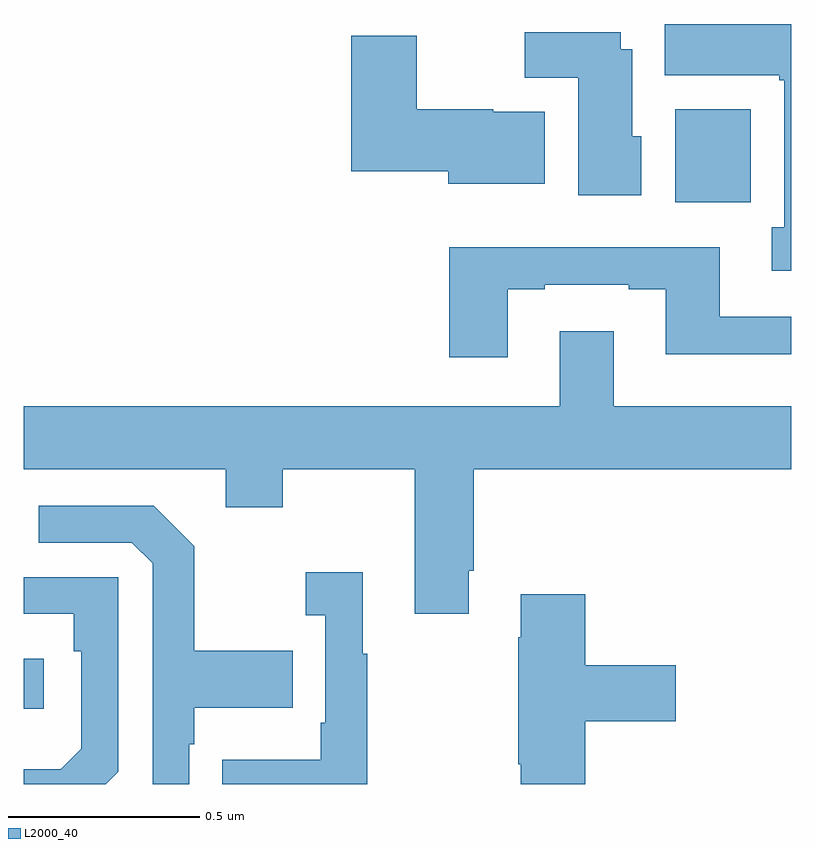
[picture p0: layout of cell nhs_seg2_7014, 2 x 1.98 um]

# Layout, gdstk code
import gdstk
lib = gdstk.Library(unit=1e-6, precision=1e-09)
def R(c, l, rs):  # rectangles x0, y0, x1, y1
    for r in rs: c.add(gdstk.rectangle(r[:2], r[2:], *l))
def P(c, l, *ps):  # polygons
    for p in ps: c.add(gdstk.Polygon(p, *l))
L2000_40 = (2000, 40)

nhs_seg2_7014 = lib.new_cell('nhs_seg2_7014')
R(nhs_seg2_7014, L2000_40, [(198,662.996,198.052,663.126), (199.697,664.316,199.894,664.558)])
P(nhs_seg2_7014, L2000_40, [(200,664.78),(199.67,664.78),(199.67,664.646),(199.969,664.646),(199.969,664.633),(199.982,664.633),(199.982,664.25),(199.949,664.25),(199.949,664.137),(200,664.137)],
  [(199.609,664.488),(199.585,664.488),(199.585,664.714),(199.555,664.714),(199.555,664.759),(199.306,664.759),(199.306,664.64),(199.445,664.64),(199.445,664.334),(199.609,664.334)],
  [(199.357,664.552),(199.224,664.552),(199.224,664.558),(199.024,664.558),(199.024,664.75),(198.854,664.75),(198.854,664.397),(199.106,664.397),(199.106,664.364),(199.357,664.364)],
  [(199.261,664.089),(199.357,664.089),(199.357,664.101),(199.577,664.101),(199.577,664.089),(199.673,664.089),(199.673,663.92),(200,663.92),(200,664.017),(199.813,664.017),(199.813,664.198),(199.109,664.198),(199.109,663.912),(199.261,663.912)],
  [(199.159,663.355),(199.172,663.355),(199.172,663.62),(200,663.62),(200,663.784),(199.537,663.784),(199.537,663.979),(199.397,663.979),(199.397,663.784),(198,663.784),(198,663.62),(198.527,663.62),(198.527,663.521),(198.675,663.521),(198.675,663.62),(199.019,663.62),(199.019,663.243),(199.159,663.243)],
  [(198.432,662.903),(198.445,662.903),(198.445,662.999),(198.701,662.999),(198.701,663.147),(198.445,663.147),(198.445,663.419),(198.339,663.525),(198.039,663.525),(198.039,663.429),(198.282,663.429),(198.336,663.375),(198.336,662.8),(198.432,662.8)],
  [(198.895,663.139),(198.883,663.139),(198.883,663.352),(198.735,663.352),(198.735,663.239),(198.786,663.239),(198.786,662.959),(198.774,662.959),(198.774,662.863),(198.517,662.863),(198.517,662.8),(198.895,662.8)],
  [(198.246,662.832),(198.246,663.339),(198,663.339),(198,663.243),(198.13,663.243),(198.13,663.146),(198.15,663.146),(198.15,662.892),(198.097,662.839),(198,662.839),(198,662.8),(198.214,662.8)],
  [(199.463,662.963),(199.699,662.963),(199.699,663.11),(199.463,663.11),(199.463,663.295),(199.295,663.295),(199.295,663.182),(199.288,663.182),(199.288,662.851),(199.295,662.851),(199.295,662.8),(199.463,662.8)])

lib.write_gds('nhs_seg2_7014.gds')
